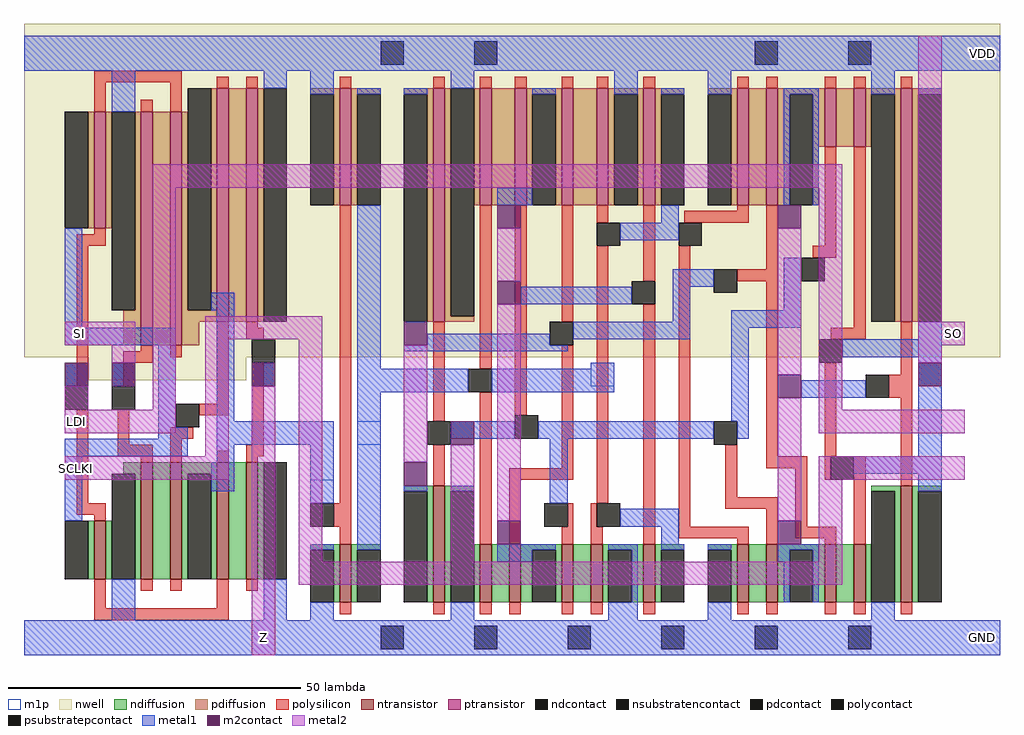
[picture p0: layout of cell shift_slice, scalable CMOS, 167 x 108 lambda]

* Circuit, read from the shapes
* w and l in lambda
.subckt shift_slice GND LDI SCLKI SI SO VDD Z
M1 GND LDI n1 GND nfet w=10 l=2
M2 n2 SI GND GND nfet w=20 l=2
M3 mux_0/INVX1_0/A n1 n2 GND nfet w=20 l=2
M4 n3 LDI mux_0/INVX1_0/A GND nfet w=20 l=2
M5 GND Z n3 GND nfet w=20 l=2
M6 DFFPOSX1_0/D mux_0/INVX1_0/A GND GND nfet w=10 l=2
M7 GND SCLKI n4 GND nfet w=20 l=2
M8 n5 DFFPOSX1_0/D GND GND nfet w=10 l=2
M9 n6 n4 n5 GND nfet w=10 l=2
M10 n7 SCLKI n6 GND nfet w=10 l=2
M11 GND n8 n7 GND nfet w=10 l=2
M12 n8 n6 GND GND nfet w=10 l=2
M13 n9 n8 GND GND nfet w=10 l=2
M14 n10 SCLKI n9 GND nfet w=10 l=2
M15 n11 n4 n10 GND nfet w=10 l=2
M16 GND SO n11 GND nfet w=10 l=2
M17 SO n10 GND GND nfet w=20 l=2
M18 VDD LDI n1 VDD pfet w=20 l=2
M19 n12 SI VDD VDD pfet w=40 l=2
M20 mux_0/INVX1_0/A LDI n12 VDD pfet w=40 l=2
M21 n13 n1 mux_0/INVX1_0/A VDD pfet w=40 l=2
M22 VDD Z n13 VDD pfet w=40 l=2
M23 DFFPOSX1_0/D mux_0/INVX1_0/A VDD VDD pfet w=20 l=2
M24 VDD SCLKI n4 VDD pfet w=40 l=2
M25 n14 DFFPOSX1_0/D VDD VDD pfet w=20 l=2
M26 n6 SCLKI n14 VDD pfet w=20 l=2
M27 n15 n4 n6 VDD pfet w=20 l=2
M28 VDD n8 n15 VDD pfet w=20 l=2
M29 n8 n6 VDD VDD pfet w=20 l=2
M30 n16 n8 VDD VDD pfet w=20 l=2
M31 n10 n4 n16 VDD pfet w=20 l=2
M32 n17 SCLKI n10 VDD pfet w=10 l=2
M33 VDD SO n17 VDD pfet w=10 l=2
M34 SO n10 VDD VDD pfet w=40 l=2
.ends

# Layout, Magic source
magic
tech scmos
<< nwell >>
rect -9 56 3 57
<< metal1 >>
rect -16 100 151 106
rect 45 45 60 49
rect 64 45 85 46
rect -16 0 151 6
<< m2contact >>
rect -9 46 -5 50
rect -1 46 3 50
rect 23 46 27 50
rect 137 46 141 50
rect 57 36 61 40
<< metal2 >>
rect 6 80 124 84
rect -9 53 3 57
rect -1 50 3 53
rect -9 42 -5 46
rect 6 42 10 80
rect -9 38 10 42
rect 15 54 35 58
rect 15 34 19 54
rect -9 30 19 34
rect 23 0 27 46
rect 31 16 35 54
rect 120 42 124 80
rect 137 57 141 106
rect 137 53 145 57
rect 137 50 141 53
rect 120 38 145 42
rect 57 16 61 36
rect 120 30 145 34
rect 120 16 124 30
rect 31 12 124 16
use mux  mux_0
transform 1 0 -16 0 1 0
box 0 0 73 108
use DFFPOSX1  DFFPOSX1_0
transform 1 0 47 0 1 3
box -8 -3 104 105
<< labels >>
rlabel metal1 145 100 151 106 0 VDD
rlabel metal1 145 0 151 6 0 GND
rlabel metal2 141 53 145 57 0 SO
rlabel metal2 23 0 27 6 0 Z
rlabel metal2 -9 38 -5 42 0 LDI
rlabel metal2 -9 30 -5 34 0 SCLKI
rlabel metal2 -9 53 -4 57 0 SI
<< end >>

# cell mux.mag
magic
tech scmos
<< metal1 >>
rect 43 36 53 40
rect 49 30 53 36
use MUX2X1  MUX2X1_0
transform 1 0 5 0 1 3
box -5 -3 53 105
use INVX1  INVX1_0
transform 1 0 47 0 1 3
box -9 -3 26 105
<< end >>

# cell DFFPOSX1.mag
magic
tech scmos
<< nwell >>
rect -8 48 104 105
<< ntransistor >>
rect 7 6 9 26
rect 15 6 17 16
rect 20 6 22 16
rect 29 6 31 16
rect 34 6 36 16
rect 43 6 45 16
rect 59 6 61 16
rect 64 6 66 16
rect 74 6 76 16
rect 79 6 81 16
rect 87 6 89 26
<< ptransistor >>
rect 7 54 9 94
rect 15 74 17 94
rect 21 74 23 94
rect 29 74 31 94
rect 35 74 37 94
rect 43 74 45 94
rect 59 74 61 94
rect 64 74 66 94
rect 74 84 76 94
rect 79 84 81 94
rect 87 54 89 94
<< ndiffusion >>
rect 2 25 7 26
rect 6 6 7 25
rect 9 25 14 26
rect 9 6 10 25
rect 82 25 87 26
rect 14 6 15 16
rect 17 6 20 16
rect 22 15 29 16
rect 22 6 24 15
rect 28 6 29 15
rect 31 6 34 16
rect 36 15 43 16
rect 36 6 37 15
rect 41 6 43 15
rect 45 15 50 16
rect 45 6 46 15
rect 54 15 59 16
rect 58 6 59 15
rect 61 6 64 16
rect 66 15 74 16
rect 66 6 68 15
rect 72 6 74 15
rect 76 6 79 16
rect 81 6 82 16
rect 86 6 87 25
rect 89 25 94 26
rect 89 6 90 25
<< pdiffusion >>
rect 2 93 7 94
rect 6 54 7 93
rect 9 55 10 94
rect 14 74 15 94
rect 17 74 21 94
rect 23 93 29 94
rect 23 74 24 93
rect 28 74 29 93
rect 31 74 35 94
rect 37 93 43 94
rect 37 74 38 93
rect 42 74 43 93
rect 45 93 50 94
rect 45 74 46 93
rect 54 93 59 94
rect 58 74 59 93
rect 61 74 64 94
rect 66 93 74 94
rect 66 74 68 93
rect 72 84 74 93
rect 76 84 79 94
rect 81 93 87 94
rect 81 84 82 93
rect 72 74 73 84
rect 9 54 14 55
rect 86 54 87 93
rect 89 93 94 94
rect 89 54 90 93
<< ndcontact >>
rect 2 6 6 25
rect 10 6 14 25
rect 24 6 28 15
rect 37 6 41 15
rect 46 6 50 15
rect 54 6 58 15
rect 68 6 72 15
rect 82 6 86 25
rect 90 6 94 25
<< pdcontact >>
rect 2 54 6 93
rect 10 55 14 94
rect 24 74 28 93
rect 38 74 42 93
rect 46 74 50 93
rect 54 74 58 93
rect 68 74 72 93
rect 82 54 86 93
rect 90 54 94 93
<< psubstratepcontact >>
rect -2 -2 2 2
rect 14 -2 18 2
rect 30 -2 34 2
rect 46 -2 50 2
rect 62 -2 66 2
rect 78 -2 82 2
<< nsubstratencontact >>
rect -2 98 2 102
rect 14 98 18 102
rect 62 98 66 102
rect 78 98 82 102
<< polysilicon >>
rect 7 94 9 96
rect 15 94 17 96
rect 21 94 23 96
rect 29 94 31 96
rect 35 94 37 96
rect 43 94 45 96
rect 59 94 61 96
rect 64 94 66 96
rect 74 94 76 96
rect 79 94 81 96
rect 87 94 89 96
rect 7 37 9 54
rect 15 46 17 74
rect 7 26 9 33
rect 15 16 17 42
rect 21 38 23 74
rect 29 54 31 74
rect 29 29 31 50
rect 20 27 31 29
rect 35 71 37 74
rect 20 16 22 27
rect 35 23 37 67
rect 43 61 45 74
rect 59 73 61 74
rect 50 71 61 73
rect 30 19 31 23
rect 29 16 31 19
rect 34 19 35 23
rect 34 16 36 19
rect 43 16 45 57
rect 49 19 51 67
rect 64 63 66 74
rect 74 67 76 84
rect 72 65 76 67
rect 59 61 66 63
rect 57 24 59 33
rect 64 31 66 61
rect 79 53 81 84
rect 75 51 81 53
rect 74 31 76 47
rect 87 45 89 54
rect 85 41 89 45
rect 64 29 71 31
rect 57 22 66 24
rect 49 17 61 19
rect 59 16 61 17
rect 64 16 66 22
rect 69 19 71 29
rect 74 27 75 31
rect 69 17 76 19
rect 74 16 76 17
rect 79 16 81 31
rect 87 26 89 41
rect 7 4 9 6
rect 15 4 17 6
rect 20 4 22 6
rect 29 4 31 6
rect 34 4 36 6
rect 43 4 45 6
rect 59 4 61 6
rect 64 4 66 6
rect 74 4 76 6
rect 79 4 81 6
rect 87 4 89 6
<< polycontact >>
rect 13 42 17 46
rect 6 33 10 37
rect 27 50 31 54
rect 21 34 25 38
rect 35 67 39 71
rect 41 57 45 61
rect 26 19 30 23
rect 35 19 39 23
rect 49 67 53 71
rect 55 59 59 63
rect 70 61 74 65
rect 55 33 59 37
rect 73 47 77 51
rect 81 41 85 45
rect 75 27 79 31
<< metal1 >>
rect -2 102 98 103
rect 2 98 14 102
rect 18 98 62 102
rect 66 98 78 102
rect 82 98 98 102
rect -2 97 98 98
rect 10 94 14 97
rect 2 93 6 94
rect 24 93 28 94
rect 18 74 24 77
rect 38 93 42 97
rect 46 93 50 94
rect 54 93 58 97
rect 67 93 73 94
rect 67 74 68 93
rect 72 74 73 93
rect 82 93 86 97
rect 46 71 49 74
rect 39 68 49 71
rect 22 57 41 60
rect 48 60 55 63
rect 48 54 51 60
rect 67 56 70 65
rect 6 50 27 52
rect 31 51 51 54
rect 58 53 70 56
rect 90 93 94 94
rect 2 49 30 50
rect 34 46 38 47
rect 17 43 38 46
rect 10 34 21 37
rect 58 37 61 53
rect 90 51 94 54
rect 77 48 94 51
rect 70 41 81 44
rect 25 34 55 37
rect 2 25 6 26
rect 10 25 14 26
rect 27 23 30 34
rect 59 34 61 37
rect 90 31 94 48
rect 79 28 94 31
rect 90 25 94 28
rect 39 19 49 22
rect 46 16 49 19
rect 18 15 28 16
rect 18 13 24 15
rect 37 15 42 16
rect 41 6 42 15
rect 46 15 50 16
rect 54 15 58 16
rect 66 15 73 16
rect 66 13 68 15
rect 67 6 68 13
rect 72 6 73 15
rect 10 3 14 6
rect 37 3 42 6
rect 54 3 58 6
rect 82 3 86 6
rect -2 2 98 3
rect 2 -2 14 2
rect 18 -2 30 2
rect 34 -2 46 2
rect 50 -2 62 2
rect 66 -2 78 2
rect 82 -2 98 2
rect -2 -3 98 -2
<< m2contact >>
rect 18 70 22 74
rect 66 70 70 74
rect 18 57 22 61
rect 2 50 6 54
rect 66 41 70 45
rect 2 26 6 30
rect 18 16 22 20
rect 66 16 70 20
<< metal2 >>
rect 18 61 22 70
rect 2 30 6 50
rect 18 20 22 57
rect 66 45 70 70
rect 66 20 70 41
<< m1p >>
rect 34 43 38 47
rect 90 43 94 47
rect 10 33 14 37
<< labels >>
rlabel metal1 4 100 4 100 6 vdd
rlabel metal1 36 45 36 45 6 D
rlabel metal1 4 0 4 0 8 gnd
rlabel metal1 92 45 92 45 6 Q
rlabel metal1 12 35 12 35 1 CLK
<< end >>

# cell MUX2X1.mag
magic
tech scmos
<< nwell >>
rect -5 48 53 105
rect 6 44 33 48
<< ntransistor >>
rect 7 10 9 20
rect 15 10 17 30
rect 20 10 22 30
rect 28 10 30 30
rect 33 10 35 30
<< ptransistor >>
rect 7 70 9 90
rect 15 50 17 90
rect 20 50 22 90
rect 28 54 30 94
rect 33 54 35 94
<< ndiffusion >>
rect 12 28 15 30
rect 6 10 7 20
rect 9 10 10 20
rect 14 10 15 28
rect 17 10 20 30
rect 22 28 28 30
rect 22 10 23 28
rect 27 10 28 28
rect 30 10 33 30
rect 35 10 36 30
<< pdiffusion >>
rect 6 70 7 90
rect 9 70 10 90
rect 14 56 15 90
rect 12 50 15 56
rect 17 50 20 90
rect 22 56 23 90
rect 27 56 28 94
rect 22 54 28 56
rect 30 54 33 94
rect 35 54 36 94
rect 22 50 25 54
<< ndcontact >>
rect 2 10 6 20
rect 10 10 14 28
rect 23 10 27 28
rect 36 10 40 30
<< pdcontact >>
rect 2 70 6 90
rect 10 56 14 90
rect 23 56 27 94
rect 36 54 40 94
<< polysilicon >>
rect 7 95 22 97
rect 7 90 9 95
rect 15 90 17 92
rect 20 90 22 95
rect 28 94 30 96
rect 33 94 35 96
rect 7 69 9 70
rect 4 67 9 69
rect 4 43 6 67
rect 15 49 17 50
rect 12 47 17 49
rect 20 48 22 50
rect 12 43 14 47
rect 28 40 30 54
rect 33 53 35 54
rect 33 51 36 53
rect 4 23 6 39
rect 11 33 13 39
rect 25 38 30 40
rect 20 34 24 36
rect 11 31 17 33
rect 15 30 17 31
rect 20 30 22 34
rect 34 33 36 47
rect 28 30 30 32
rect 33 31 36 33
rect 33 30 35 31
rect 4 21 9 23
rect 7 20 9 21
rect 7 5 9 10
rect 15 8 17 10
rect 20 8 22 10
rect 28 5 30 10
rect 33 8 35 10
rect 7 3 30 5
<< polycontact >>
rect 2 39 6 43
rect 10 39 14 43
rect 21 36 25 40
rect 34 47 38 51
<< metal1 >>
rect -2 97 50 103
rect 10 90 14 97
rect 36 94 40 97
rect 2 53 5 70
rect 27 56 31 59
rect 2 50 21 53
rect 2 43 6 47
rect 10 43 14 47
rect 18 36 21 50
rect 28 37 31 56
rect 34 43 38 47
rect 18 34 23 36
rect 2 31 23 34
rect 28 33 38 37
rect 2 20 5 31
rect 28 30 31 33
rect 27 25 31 30
rect 10 3 14 10
rect 36 3 40 10
rect -2 -3 50 3
<< m1p >>
rect 2 43 6 47
rect 10 43 14 47
rect 34 43 38 47
rect 34 33 38 37
<< labels >>
rlabel metal1 4 45 4 45 1 S
rlabel metal1 36 35 36 35 1 Y
rlabel metal1 36 45 36 45 1 A
rlabel metal1 12 45 12 45 1 B
<< end >>

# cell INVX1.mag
magic
tech scmos
<< nwell >>
rect -9 48 26 105
<< ntransistor >>
rect 7 6 9 16
<< ptransistor >>
rect 7 74 9 94
<< ndiffusion >>
rect 2 15 7 16
rect 6 6 7 15
rect 9 15 14 16
rect 9 6 10 15
<< pdiffusion >>
rect 2 93 7 94
rect 6 74 7 93
rect 9 93 14 94
rect 9 74 10 93
<< ndcontact >>
rect 2 6 6 15
rect 10 6 14 15
<< pdcontact >>
rect 2 74 6 93
rect 10 74 14 93
<< polysilicon >>
rect 7 94 9 96
rect 7 23 9 74
rect 6 19 9 23
rect 7 16 9 19
rect 7 4 9 6
<< polycontact >>
rect 2 19 6 23
<< metal1 >>
rect -2 97 18 103
rect 2 93 6 97
rect 10 93 14 94
rect 2 23 6 27
rect 2 15 6 16
rect 10 15 14 74
rect 2 3 6 6
rect -2 -3 18 3
<< m1p >>
rect 10 33 14 37
rect 2 23 6 27
<< labels >>
rlabel metal1 4 25 4 25 6 A
rlabel metal1 12 35 12 35 6 Y
rlabel metal1 4 100 4 100 6 vdd
rlabel metal1 4 0 4 0 8 gnd
<< end >>
